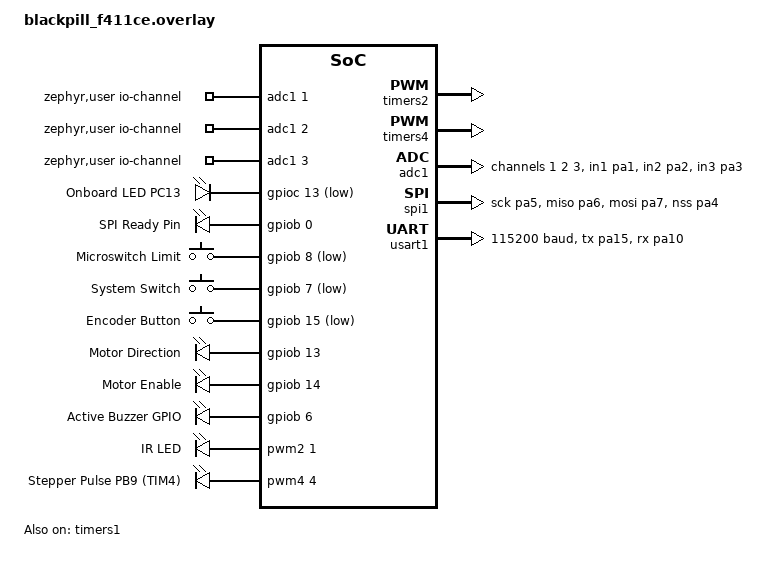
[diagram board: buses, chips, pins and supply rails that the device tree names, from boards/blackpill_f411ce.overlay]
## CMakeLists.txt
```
cmake_minimum_required(VERSION 3.20.0)

# ---------------------------------------------------------------------
# Selecao de target
#
#   west build -b blackpill_f411ce .      -> perfil completo (artigo)
#   west build -b nucleo_u575zi_q .       -> perfil minimo (SPI + PWM)
#
# O overlay e o fragmento de Kconfig sao escolhidos EXPLICITAMENTE pelo
# nome da board. Isso evita depender da ordem de descoberta automatica
# de app.overlay / boards/<board>.overlay, que ja mudou entre versoes do
# Zephyr.
# ---------------------------------------------------------------------

# O Zephyr descobre sozinho boards/<board>.overlay e boards/<board>.conf
# (cmake/modules/configuration_files.cmake, linhas 47 e 77) -- mas SO se
# DTC_OVERLAY_FILE nao estiver definida. Definir a mao desativava esse
# mecanismo e, no sysbuild, ainda lia ${BOARD} vazio, gerando
# "boards/.overlay". Por isso nao setamos nada aqui.

# O Zephyr le o arquivo 'VERSION' automaticamente AQUI
find_package(Zephyr REQUIRED HINTS $ENV{ZEPHYR_BASE})

project(infusion_pump)

# Validacao depois do find_package: aqui BOARD esta garantidamente
# definido, inclusive sob sysbuild.
set(ARGUS_BOARD_OVERLAY "${CMAKE_CURRENT_SOURCE_DIR}/boards/${BOARD}.overlay")
if(NOT EXISTS ${ARGUS_BOARD_OVERLAY})
    message(FATAL_ERROR
        "Board '${BOARD}' nao suportada por este projeto.\n"
        "Falta: ${ARGUS_BOARD_OVERLAY}\n"
        "Targets disponiveis: blackpill_f411ce, nucleo_u575zi_q")
endif()

message(STATUS "Argus target        : ${BOARD}")
message(STATUS "Argus DT overlay    : ${ARGUS_BOARD_OVERLAY}")

target_include_directories(app PRIVATE
    include
    utl
)

# Todos os fontes compilam nos dois targets. Os drivers de hardware
# opcional (encoder, ADC) viram stubs sozinhos quando os nos
# correspondentes nao existem no Device Tree -- ver src/encoder.c e
# src/adc_driver.c.
target_sources(app PRIVATE
    src/main.c
    src/cmd.c
    src/hub.c
    src/adc_driver.c
    src/encoder.c
    src/motor_driver.c
    src/logic_engine.c
    src/ota_handler.c
    utl/utl_io.c
    utl/utl_crc16.c
)

set(APP_VERSION_STRING "${APP_VERSION_MAJOR}.${APP_VERSION_MINOR}.${APP_PATCHLEVEL}")
message(STATUS "Argus firmware ver  : ${APP_VERSION_STRING}")

# Injeta a versao na assinatura do MCUboot
set(CONFIG_MCUBOOT_IMGTOOL_SIGN_VERSION "${APP_VERSION_STRING}" CACHE STRING "" FORCE)

# Artefato nomeado por board: argus_<board>_v<versao>.bin
set(OUTPUT_BIN_NAME "argus_${BOARD}_v${APP_VERSION_STRING}.bin")

# Sem MCUboot nao existe zephyr.signed.bin; usa o binario cru.
if(CONFIG_BOOTLOADER_MCUBOOT)
    set(ARGUS_SRC_BIN "${CMAKE_BINARY_DIR}/zephyr/zephyr.signed.bin")
else()
    set(ARGUS_SRC_BIN "${CMAKE_BINARY_DIR}/zephyr/zephyr.bin")
endif()

add_custom_target(artifact_gen ALL
    COMMAND ${CMAKE_COMMAND} -E copy
    ${ARGUS_SRC_BIN}
    ${CMAKE_SOURCE_DIR}/${OUTPUT_BIN_NAME}

    COMMENT ">>> [SUCESSO] ${OUTPUT_BIN_NAME}"
)

add_dependencies(artifact_gen zephyr_final)
```

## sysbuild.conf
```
# ---------------------------------------------------------------------------
# sysbuild: construir o MCUboot junto com a aplicacao
# ---------------------------------------------------------------------------
# CONFIG_BOOTLOADER_MCUBOOT (no prj/board conf) diz apenas "esta aplicacao
# sera carregada por um bootloader": faz a app ser linkada no slot0 e
# assinada. Nao constroi bootloader nenhum.
#
# Quem manda o sysbuild COMPILAR o MCUboot e este SB_CONFIG. Sem ele, o
# build termina sem bootloader e a placa nao da boot: o vetor de reset
# aponta para o inicio da flash, onde nao ha nada.
#
#   west build -p always -b nucleo_u575zi_q --sysbuild .
SB_CONFIG_BOOTLOADER_MCUBOOT=y
```

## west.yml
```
# Manifesto do workspace Zephyr usado para gerar as imagens deste
# firmware. Versionado de proposito: sem ele, reconstruir o ambiente
# vira adivinhacao.
#
# Ambiente validado em 2026-09-07:
#   Zephyr    v4.4.0-14505-gbc2caf20dd0
#   SDK       zephyr-sdk 1.0.1 (toolchain arm-zephyr-eabi)
#   libc      picolibc (o SDK nao traz mais newlib para arm-zephyr-eabi)
#
# Uso como workspace proprio:
#   west init -l .            # a partir da raiz deste repositorio
#   west update
manifest:
  remotes:
    - name: zephyrproject-rtos
      url-base: https://github.com/zephyrproject-rtos

  projects:
    - name: zephyr
      remote: zephyrproject-rtos
      revision: bc2caf20dd0c7ca6c95c0dae66fd1ccb0e7e6147
      import:
        name-allowlist:
          - cmsis
          - cmsis_6
          - hal_stm32
          - mcuboot
          - picolibc
          - segger
          - zcbor

  self:
    path: argus-mpcs
```

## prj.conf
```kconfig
# =====================================================================
# Argus MPCS - configuracao COMUM a todos os targets
#
# O que e especifico de placa (ADC, encoder, DMA, MCUboot, chave de
# assinatura) mora em boards/<board>.conf, aplicado por cima deste.
# =====================================================================

# Perifericos basicos
CONFIG_GPIO=y
CONFIG_SERIAL=y
CONFIG_CONSOLE=y

# SPI (escravo) - o backend DMA e decidido por placa
CONFIG_SPI=y
CONFIG_SPI_PERIPHERAL=y
CONFIG_SPI_STM32=y

# PWM do motor de passo
CONFIG_PWM=y
CONFIG_PWM_STM32=y

# Lib C
#
# Picolibc. O firmware original pedia newlib, mas NEWLIB_LIBC depende de
# NEWLIB_LIBC_SUPPORTED e o Zephyr SDK 1.0.1 nao traz mais newlib para
# arm-zephyr-eabi: o pedido era silenciosamente ignorado e o picolibc
# vencia a escolha de qualquer jeito. Agora esta explicito.
#
# Seguro aqui: o codigo nao usa %f/%g em nenhum log (picolibc nao traz
# printf de ponto flutuante por padrao) nem funcao alguma de math.h.
CONFIG_PICOLIBC=y

# Logs (otimizado para performance: modo deferido)
CONFIG_LOG=y
CONFIG_LOG_MODE_IMMEDIATE=n
CONFIG_LOG_MODE_DEFERRED=y
CONFIG_LOG_BUFFER_SIZE=4096
CONFIG_LOG_DEFAULT_LEVEL=3

# Stacks
CONFIG_MAIN_STACK_SIZE=4096
CONFIG_ISR_STACK_SIZE=4096

# Instrumentacao de tempo (metricas para os revisores)
# k_cycle_get_32() usa o contador de ciclos do proprio nucleo no
# Cortex-M: resolucao sub-microssegundo, custo de uma leitura de
# registrador. Nao ha amostragem nem buffer no caminho critico.
CONFIG_TIMING_FUNCTIONS=y

# Utils
CONFIG_CRC=y
CONFIG_POLL=y
CONFIG_REBOOT=y

# Workqueue cooperativa: o reboot pos-OTA e agendado nela e nao pode
# ser preemptado pela thread do hub.
CONFIG_SYSTEM_WORKQUEUE_PRIORITY=-1
```

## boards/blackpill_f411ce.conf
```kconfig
# =====================================================================
# Blackpill F411CE - perfil COMPLETO (hardware original do artigo)
#
# Reproduz exatamente a configuracao da branch state_machine: ADC,
# encoder por quadratura, DMA no SPI e OTA via MCUboot.
# =====================================================================

# Entrada (botoes / microswitch)
CONFIG_INPUT=y

# ADC (bolha, oclusao, potenciometro)
CONFIG_ADC=y
CONFIG_ADC_STM32=y

# Encoder por quadratura (TIM1 via API de sensor)
CONFIG_SENSOR=y

# DMA no SPI escravo
CONFIG_DMA=y
CONFIG_SPI_STM32_DMA=y

# Bootloader e DFU (OTA a partir do gateway)
CONFIG_BOOTLOADER_MCUBOOT=y
CONFIG_IMG_MANAGER=y
CONFIG_FLASH=y
CONFIG_FLASH_MAP=y
CONFIG_STREAM_FLASH=y
CONFIG_IMG_ERASE_PROGRESSIVELY=y
CONFIG_NET_BUF=y
CONFIG_ZCBOR=y

# Assinatura da imagem
CONFIG_MCUBOOT_SIGNATURE_KEY_FILE="bootloader/mcuboot/root-rsa-2048.pem"
```

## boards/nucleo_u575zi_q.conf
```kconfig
# =====================================================================
# Nucleo-U575ZI-Q - perfil MINIMO (comunicacao + debug)
#
# Objetivo deste target: validar SPI escravo + DATA READY contra a
# RPi Zero 2W, com log legivel pela VCP do ST-Link. PWM do motor
# incluido, mas opcional (ver overlay).
# =====================================================================

# --- Perifericos NAO usados neste perfil ---
# Explicitos para documentar a intencao, nao por necessidade.
CONFIG_ADC=n
CONFIG_SENSOR=n
CONFIG_INPUT=n

# --- SPI escravo em modo interrupcao ---
# O GPDMA do U5 tem binding/celulas diferentes do DMA2 do F4. A 500 kHz
# com quadros de 64 bytes o modo interrupcao atende com folga.
# Para experimentar DMA depois: ligar as duas linhas abaixo E acrescentar
# a propriedade "dmas" no no &spi1 do overlay (formato GPDMA, nao DMA2).
CONFIG_DMA=n
CONFIG_SPI_STM32_DMA=n
CONFIG_SPI_STM32_INTERRUPT=y

# API assincrona do SPI: necessaria para armar o periferico ANTES de subir
# o READY. Sem ela o hub cai no caminho bloqueante, que tem a corrida
# medida no analisador logico (ANALISADOR_LOGICO.md, 3.5).
CONFIG_SPI_ASYNC=n
#            ^^^ OBRIGATORIO. Sem DMA E sem interrupcao, o driver
# spi_stm32 opera em POLLING: spi_transceive() vira busy-wait esperando
# o clock do mestre. Em modo peripheral isso trava o sistema inteiro --
# a thread do hub (prio 1) nunca cede a CPU e nada de prioridade menor
# roda (logic engine, processamento de log, system workqueue).

# --- OTA via MCUboot ---
# Habilitado para exercitar o caminho de atualizacao do firmware pelo
# gateway (stm32-updater, que fala o protocolo OTA por SPI).
#
# O bootloader e construido junto pelo sysbuild:
#     west build -p always -b nucleo_u575zi_q --sysbuild .
#
# Layout de flash vem da propria board DTS: mcuboot 64K, slot0 928K
# @0x10000, slot1 928K @0xf8000. O overlay aponta zephyr,code-partition
# para o slot0, senao a aplicacao seria linkada no inicio da flash e o
# MCUboot nao a encontraria.
CONFIG_BOOTLOADER_MCUBOOT=y
CONFIG_IMG_MANAGER=y
CONFIG_FLASH=y
CONFIG_FLASH_MAP=y
CONFIG_STREAM_FLASH=y
CONFIG_IMG_ERASE_PROGRESSIVELY=y
CONFIG_NET_BUF=y
CONFIG_ZCBOR=y

# =====================================================================
# UART DE DEBUG
#
# Sai pela VCP do ST-Link (a DTS da board ja escolhe o UART certo).
# Sem fiacao extra: plugue o USB da Nucleo e abra
#
#     picocom -b 115200 /dev/ttyACM0
# =====================================================================
CONFIG_UART_CONSOLE=y
CONFIG_PRINTK=y

# Modo deferido: o log NAO bloqueia a thread do hub enquanto imprime.
# Isso importa aqui -- em modo imediato a UART injetaria latencia no
# laco do SPI e contaminaria qualquer medida de tempo.
CONFIG_LOG_MODE_DEFERRED=y

# Timestamp nas linhas de log, para casar o console com as capturas do
# analisador logico.
CONFIG_LOG_TIMESTAMP_64BIT=y

# Nome das threads nos backtraces e nos erros de kernel.
CONFIG_THREAD_NAME=y

# Falhas de kernel imprimem stack trace legivel em vez de travar mudo.
CONFIG_ASSERT=y
# CONFIG_EXCEPTION_STACK_TRACE nao entra aqui: depende de ARCH_STACKWALK,
# que e 'n' neste arch. Pedir mesmo assim so gera warning e nao ativa nada.

# --- Verbosidade ---
# Padrao INF (herdado do prj.conf). Para bring-up do SPI, subir para DBG
# descomentando a linha abaixo. Cuidado: gera bastante trafego na UART.
# CONFIG_LOG_DEFAULT_LEVEL=4

# --- Shell interativo (opcional) ---
# Util para inspecionar estado sem recompilar. Custa uma thread e ~10 KB.
# CONFIG_SHELL=y
# CONFIG_SHELL_BACKEND_SERIAL=y
```

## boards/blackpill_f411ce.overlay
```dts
/ {
    zephyr,user {
        io-channels = <&adc1 1>, <&adc1 2>, <&adc1 3>;
    };

    chosen {
        zephyr,code-partition = &slot0_partition;
        zephyr,console = &usart1;
        zephyr,shell-uart = &usart1;
    };
    
    aliases {
        led0 = &onboard_led;
        
        /* Sensores */
        qdec0 = &qdec;         
        sw-spdt = &button_spdt;
        sw-mech = &button_mech;
        sw-encoder = &button_encoder;
        
        /* ADC - Agora os labels &adc_photo existem! */
        adc-photo = &adc_photo;
        adc-pot = &adc_pot;
        adc-load = &adc_load;

        /* Atuadores */
        motor-pwm = &motor_pwm;
        motor-dir = &motor_dir;
        motor-en = &motor_en;
        led-ir = &pwm_ir;
        buzzer = &buzzer_gpio; 
        
        /* Comms */
        spi-ready = &ready_pin;
    };

    leds {
        compatible = "gpio-leds";
        onboard_led: led_pc13 {
            gpios = <&gpioc 13 GPIO_ACTIVE_LOW>;
            label = "Onboard LED PC13";
        };
        ready_pin: ready_pin_pb0 {
            gpios = <&gpiob 0 GPIO_ACTIVE_HIGH>;
            label = "SPI Ready Pin";
        };
    };

    buttons {
        compatible = "gpio-keys";
        button_mech: microswitch {
            gpios = <&gpiob 8 (GPIO_ACTIVE_LOW | GPIO_PULL_UP)>;
            label = "Microswitch Limit";
            zephyr,code = <11>; 
        };
        button_spdt: spdt_switch {
            gpios = <&gpiob 7 (GPIO_ACTIVE_LOW | GPIO_PULL_UP)>;
            label = "System Switch";
            zephyr,code = <12>;
        };
        button_encoder: encoder_sw {
            gpios = <&gpiob 15 (GPIO_ACTIVE_LOW | GPIO_PULL_UP)>;
            label = "Encoder Button";
            zephyr,code = <13>;
        };
    };

    gpio_outputs {
        compatible = "gpio-leds"; 
        motor_dir: motor_dir {
            gpios = <&gpiob 13 GPIO_ACTIVE_HIGH>;
            label = "Motor Direction";
        };
        motor_en: motor_ena {
            gpios = <&gpiob 14 GPIO_ACTIVE_HIGH>;
            label = "Motor Enable";
        };
        buzzer_gpio: buzzer_gpio {
            gpios = <&gpiob 6 GPIO_ACTIVE_HIGH>;
            label = "Active Buzzer GPIO";
        };
    };

    pwmleds {
        compatible = "pwm-leds";
        
        pwm_ir: pwm_led_ir {
            pwms = <&pwm2 1 PWM_MSEC(20) PWM_POLARITY_NORMAL>;
            label = "IR LED";
        };

        motor_pwm: motor_pulse {
            pwms = <&pwm4 4 PWM_USEC(1000) PWM_POLARITY_NORMAL>;
            label = "Stepper Pulse PB9 (TIM4)";
        };
    };
};

/* --- Configuração do Timer 1 (Hardware Encoder) --- */
&timers1 {
    status = "okay";
    
    qdec: qdec {
        compatible = "st,stm32-qdec";
        status = "okay";
        pinctrl-0 = <&tim1_ch1_pa8 &tim1_ch2_pa9>;
        pinctrl-names = "default";
        
        st,encoder-mode = <3>; 
        st,input-filter-level = <12>; 
        st,counts-per-revolution = <80>;
    };
};

/* --- Configuração dos Timers PWM --- */
&timers2 {
    status = "okay";
    pwm2: pwm {
        status = "okay";
        pinctrl-0 = <&tim2_ch1_pwm_pa0>;
        pinctrl-names = "default";
    };
};

&timers4 {
    status = "okay";
    st,prescaler = <95>; /* Clock máximo para precisão */

    pwm4: pwm {
        status = "okay";
        pinctrl-0 = <&tim4_ch4_pwm_pb9>; /* Aponta para a nova config AF2 */
        pinctrl-names = "default";
    };
};

/* --- Configuração ADC (CORRIGIDA) --- */
&adc1 {
    status = "okay";
    pinctrl-0 = <&adc1_in1_pa1 &adc1_in2_pa2 &adc1_in3_pa3>;
    pinctrl-names = "default";
    st,adc-clock-source = "SYNC";   /* binding virou string no Zephyr 4.x (era <SYNC>) */
    st,adc-prescaler = <4>;
    #address-cells = <1>;
    #size-cells = <0>;

    /* ADICIONADO: Labels para os canais */
    adc_photo: channel@1 {
        reg = <1>;
        zephyr,gain = "ADC_GAIN_1";
        zephyr,reference = "ADC_REF_INTERNAL";
        zephyr,acquisition-time = <ADC_ACQ_TIME_DEFAULT>;
        zephyr,resolution = <12>;
    };
    adc_pot: channel@2 {
        reg = <2>;
        zephyr,gain = "ADC_GAIN_1";
        zephyr,reference = "ADC_REF_INTERNAL";
        zephyr,acquisition-time = <ADC_ACQ_TIME_DEFAULT>;
        zephyr,resolution = <12>;
    };
    adc_load: channel@3 {
        reg = <3>;
        zephyr,gain = "ADC_GAIN_1";
        zephyr,reference = "ADC_REF_INTERNAL";
        zephyr,acquisition-time = <ADC_ACQ_TIME_DEFAULT>;
        zephyr,resolution = <12>;
    };
};

/* --- Pin Control (Muxing) --- */
&pinctrl {
    /* SPI1 */
    spi1_sck_pa5: spi1_sck_pa5 {
        pinmux = <STM32_PINMUX('A', 5, AF5)>;
        bias-pull-up; 
    };
    spi1_miso_pa6: spi1_miso_pa6 {
        pinmux = <STM32_PINMUX('A', 6, AF5)>;
        bias-pull-down;
    };
    spi1_mosi_pa7: spi1_mosi_pa7 {
        pinmux = <STM32_PINMUX('A', 7, AF5)>;
        bias-pull-up;
    };
    spi1_nss_pa4: spi1_nss_pa4 {
         pinmux = <STM32_PINMUX('A', 4, AF5)>;
         bias-pull-up;
    };

    /* ADC */
    adc1_in1_pa1: adc1_in1_pa1 { pinmux = <STM32_PINMUX('A', 1, ANALOG)>; };
    adc1_in2_pa2: adc1_in2_pa2 { pinmux = <STM32_PINMUX('A', 2, ANALOG)>; };
    adc1_in3_pa3: adc1_in3_pa3 { pinmux = <STM32_PINMUX('A', 3, ANALOG)>; };

    /* PWM Timers */
    tim2_ch1_pwm_pa0: tim2_ch1_pwm_pa0 {
        pinmux = <STM32_PINMUX('A', 0, AF1)>;
    };
    tim4_ch4_pwm_pb9: tim4_ch4_pwm_pb9 {
        pinmux = <STM32_PINMUX('B', 9, AF2)>; /* AF2 = TIM4_CH4 */
        bias-pull-down; /* Garante 0V quando desligado */
        drive-push-pull;
        slew-rate = "very-high-speed"; /* Bom para PWM rápido */
    };
    
    /* Hardware Encoder Timer 1 (PA8 e PA9) */
    tim1_ch1_pa8: tim1_ch1_pa8 {
        pinmux = <STM32_PINMUX('A', 8, AF1)>;
        bias-pull-up;
    };
    tim1_ch2_pa9: tim1_ch2_pa9 {
        pinmux = <STM32_PINMUX('A', 9, AF1)>;
        bias-pull-up;
    };

    usart1_tx_pa15: usart1_tx_pa15 {
        pinmux = <STM32_PINMUX('A', 15, AF7)>;
        bias-pull-up;
    };

    /* Configura PA10 como USART1_RX (AF7) */
    usart1_rx_pa10: usart1_rx_pa10 {
        pinmux = <STM32_PINMUX('A', 10, AF7)>;
        bias-pull-up;
    };
};

/* --- Configurações Flash e Periféricos --- */
&flash0 {
    /delete-node/ partitions;
};

&flash0 {
    partitions {
        compatible = "fixed-partitions";
        #address-cells = <1>;
        #size-cells = <1>;
        boot_partition: partition@0 {
            label = "mcuboot";
            reg = <0x00000000 0x00020000>; 
        };
        slot0_partition: partition@20000 {
            label = "image-0";
            reg = <0x00020000 0x00020000>; 
        };
        slot1_partition: partition@40000 {
            label = "image-1";
            reg = <0x00040000 0x00020000>; 
        };
        scratch_partition: partition@60000 {
            label = "image-scratch";
            reg = <0x00060000 0x00020000>; 
        };
    };
};

&dma2 { status = "okay"; };

&spi1 {
    status = "okay";
    pinctrl-0 = <&spi1_sck_pa5 &spi1_miso_pa6 &spi1_mosi_pa7 &spi1_nss_pa4>;
    pinctrl-names = "default";
    dmas = <&dma2 3 3 0x28440 0x03>, <&dma2 0 3 0x28480 0x03>;
    dma-names = "tx", "rx";
};

/* Configuração do Periférico USART1 */
&usart1 {
    status = "okay";
    pinctrl-0 = <&usart1_tx_pa15 &usart1_rx_pa10>;
    pinctrl-names = "default";
    current-speed = <115200>;
};

/* Desativa periféricos não usados */
&i2c1 { status = "disabled"; };
&i2c2 { status = "disabled"; };
&i2c3 { status = "disabled"; };
&usart2 { status = "disabled"; };
&usart6 { status = "disabled"; };
&timers11 { status = "disabled"; };
```

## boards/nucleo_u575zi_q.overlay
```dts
/*
 * Argus MPCS - Nucleo-U575ZI-Q (STM32U575ZIT6Q, Cortex-M33)
 *
 * Perfil MINIMO. So o necessario para o gateway (RPi Zero 2W) falar com
 * o MCU, mais o atuador e a UART de debug:
 *
 *   [obrigatorio] SPI1 escravo + pino DATA READY
 *   [opcional]    PWM do motor de passo + DIR/EN
 *   [debug]       console/log pela VCP do ST-Link
 *
 * Encoder (qdec), ADC, botoes e buzzer NAO sao instanciados. Os drivers
 * correspondentes viram stubs sozinhos quando os nos faltam no DT --
 * vale tambem para o motor (ver src/motor_driver.c).
 *
 * ---------------------------------------------------------------------
 * MAPA DE PINOS -- CONFIRME contra o pinout da placa antes de ligar
 * ---------------------------------------------------------------------
 *   SPI1 (escravo)   NSS  PA4   CN7-9  ou CN7-17   (Zio D20/D24)
 *                    SCK  PA5   CN7-10             (Arduino D13)
 *                    MISO PA6   CN7-12             (Arduino D12)
 *                    MOSI PA7   CN7-14             (Arduino D11)
 *   DATA READY (out) PB3   CN7-15             (Zio D23)
 *                          -> GPIO 5 do RPi (entrada)
 *
 *   PB3 fica no MESMO conector dos quatro sinais de SPI (CN7), o que
 *   encurta a fiacao. Em troca, PB3 e a funcao debug_jtdo_swo: com SWD
 *   puro fica livre para GPIO, mas se o trace SWO for habilitado no
 *   ST-Link o pino deixa de responder. Alternativa sem esse risco e
 *   PA2 (CN9-3 / CN10-13, Arduino A1), do outro lado da placa.
 *
 *   CUIDADO: o Arduino D10 desta placa NAO e PA4, e PD14 -- que e
 *   justamente o cs-gpios de mestre que este overlay apaga. Ligar o CS
 *   da Raspberry em D10 nao funciona.
 *   MOTOR PWM        PA0   TIM2_CH1   [opcional]
 *   MOTOR DIR (out)  PB13             [opcional]
 *   MOTOR EN  (out)  PB14             [opcional]
 *
 * ---------------------------------------------------------------------
 * NOTA sobre o RDY em hardware
 * ---------------------------------------------------------------------
 * PA2 (nao usado agora) e o pino de funcao alternada SPI1_RDY do U5: o IP de SPI da
 * geracao nova sabe dirigir esse sinal sozinho (SPI_CFG2.RDIOM/RDIOP),
 * sem passar por software. Isso e melhor que o que fazemos hoje -- ver
 * a discussao no README -- mas o driver spi_stm32 do Zephyr nao expoe
 * essa configuracao, e ele reprograma CFG2 no caminho de transceive.
 *
 * Por isso o DATA READY e um GPIO comum dirigido por software em hub.c,
 * igual a Blackpill. Assim o comportamento e o mesmo
 * nas duas placas e os resultados continuam comparaveis.
 *
 * ---------------------------------------------------------------------
 * UART DE DEBUG
 * ---------------------------------------------------------------------
 * O console e os logs saem pela VCP do ST-Link, que a DTS da propria
 * board ja escolhe (zephyr,console / zephyr,shell-uart). Nao ha nada a
 * declarar aqui e nao gasta pino de header: basta plugar o USB da
 * Nucleo e abrir /dev/ttyACM0 a 115200.
 *
 *     west build -b nucleo_u575zi_q . && west flash
 *     picocom -b 115200 /dev/ttyACM0        # ou screen, minicom...
 *
 * Se quiser o log num adaptador USB-serial separado (por exemplo para
 * capturar com o analisador logico ao mesmo tempo), descomente o bloco
 * "console alternativo" no fim deste arquivo e confira antes se os
 * pinos escolhidos estao livres na sua placa.
 */

/ {
    chosen {
        /*
         * Com MCUboot, a aplicacao TEM de ser linkada no slot0 -- senao
         * fica no inicio da flash, onde mora o bootloader.
         * O layout (mcuboot 64K, slot0 928K @0x10000, slot1 928K
         * @0xf8000) vem da propria board DTS.
         */
        zephyr,code-partition = &slot0_partition;
    };

    aliases {
        /* Comms -- obrigatorio */
        spi-ready = &ready_pin;

        /* Atuadores -- opcional (some junto com o bloco do motor) */
        motor-pwm = &motor_pwm;
        motor-dir = &motor_dir;
        motor-en  = &motor_en;

        /* Marcadores para o analisador logico -- ver include/markers.h */
        la-marker-a = &marker_a;
        la-marker-b = &marker_b;
    };

    gpio_outputs {
        compatible = "gpio-leds";

        /* DATA READY: GPIO comum dirigido por software em hub.c. */
        ready_pin: ready_pin_pb3 {
            gpios = <&gpiob 3 GPIO_ACTIVE_HIGH>;
            label = "SPI Data Ready";
        };

        /* --- inicio do bloco opcional do motor --- */
        motor_dir: motor_dir {
            gpios = <&gpiob 13 GPIO_ACTIVE_HIGH>;
            label = "Motor Direction";
        };
        motor_en: motor_ena {
            gpios = <&gpiob 14 GPIO_ACTIVE_HIGH>;
            label = "Motor Enable";
        };
    };

    /*
     * --- Marcadores para o analisador logico --- [opcional]
     *
     * Pinos livres na placa: nem os LEDs (PC7, PB7, PG2), nem o botao
     * (PC13), nem o I2C (PB8/PB9, PF0/PF1) os reivindicam.
     *
     *   A = PA8 -> Zio D33 (CN10-31)
     *   B = PE0 -> Zio D34 (CN10-33)
     *
     * Removendo este bloco e os dois aliases, o firmware volta a compilar
     * sem marcador nenhum, sem mais nenhuma edicao.
     */
    la_markers {
        compatible = "gpio-leds";

        marker_a: marker_a_pa8 {
            gpios = <&gpioa 8 GPIO_ACTIVE_HIGH>;
            label = "LA Marker A (quadro decodificado)";
        };
        marker_b: marker_b_pe0 {
            gpios = <&gpioe 0 GPIO_ACTIVE_HIGH>;
            label = "LA Marker B (atuacao no motor)";
        };
    };

    pwmleds {
        compatible = "pwm-leds";

        motor_pwm: motor_pulse {
            pwms = <&pwm2 1 PWM_USEC(1000) PWM_POLARITY_NORMAL>;
            label = "Stepper Pulse PA0 (TIM2_CH1)";
        };
    };
    /* --- fim do bloco opcional do motor --- */
};

/*
 * --- PWM do motor de passo: TIM2 canal 1 --- [opcional]
 *
 * O prescaler assume 160 MHz de clock no TIM2. Se rodar o U575 em outra
 * frequencia, recalcule: valor = (f_timer / 1 MHz) - 1.
 *
 * Para um build so de comunicacao, remova este bloco, o bloco do motor
 * acima e os tres aliases motor-*. motor_driver.c passa a compilar como
 * stub sozinho, sem mais nenhuma edicao.
 */
&timers2 {
    status = "okay";
    st,prescaler = <159>;   /* 160 MHz / (159+1) = 1 MHz -> 1 us de resolucao */

    pwm2: pwm {
        status = "okay";
        pinctrl-0 = <&tim2_ch1_pa0>;
        pinctrl-names = "default";
    };
};

/*
 * --- SPI1 em modo ESCRAVO --- [obrigatorio]
 *
 * COM DMA (GPDMA1). A versao anterior deste comentario afirmava que
 * 500 kHz com quadros de 64 bytes eram "atendidos com folga em modo
 * interrupcao". A medicao desmentiu: em modo interrupcao o escravo nao
 * repoe a FIFO a tempo e transmite zeros depois dos 8 primeiros bytes.
 *
 * Medido em 12/09/2026, quadros recusados pelo gateway por CRC:
 *     100 kHz -> 0,00%   500 kHz -> ~0,8%   2 MHz -> 94%
 * e 477 erros de driver com 477 resets do periferico em 15.913 quadros.
 *
 * DMA NAO E POSSIVEL AQUI, e a razao nao e configuracao. O driver do
 * Zephyr recusa explicitamente:
 *
 *     <err> spi_stm32: SPI DMA is only supported for full-duplex
 *                      controller mode
 *     <err> hub: Erro SPI Driver: -134   (-ENOTSUP)
 *
 * Testado em 12/09/2026 com o mapeamento correto (gpdma1 habilitado pela
 * propria DTS da placa, SPI1_TX = 7 e SPI1_RX = 6 conforme o HAL): toda
 * transferencia retornou -ENOTSUP, o hub resetou o periferico e o
 * firmware reiniciou sozinho apos 10 erros seguidos.
 *
 * Consequencia: em modo ESCRAVO a alimentacao da FIFO e sempre por CPU, e
 * a taxa util fica limitada pelo atendimento da interrupcao. Medido:
 *     100 kHz -> 0,00% de quadros recusados
 *     500 kHz -> 0,5% a 1,3% (cadencia de consulta continua)
 *     500 kHz -> 0,00% na cadencia das campanhas (modo mix)
 *     2 MHz   -> 94%
 */
&spi1 {
    status = "okay";

    /*
     * A board DTS declara este SPI como MESTRE, com CS por GPIO em PD14
     * e sem NSS no pinctrl. Em modo escravo isso esta errado nos dois
     * pontos, entao aqui: apagamos cs-gpios e reescrevemos o pinctrl
     * incluindo NSS por hardware em PA4.
     */
    /delete-property/ cs-gpios;

    pinctrl-0 = <&spi1_nss_pa4 &spi1_sck_pa5 &spi1_miso_pa6 &spi1_mosi_pa7>;


    pinctrl-names = "default";
};

/*
 * --- CONFLITO DE PINO: DAC1 x SPI1_NSS ---
 *
 * A board DTS habilita o DAC1 com pinctrl-0 = <&dac1_out1_pa4>, ou seja
 * reivindica PA4 como saida ANALOGICA. Nosso SPI1 quer o mesmo PA4 como
 * AF5 (SPI1_NSS). Dois drivers configurando o mesmo pino: quem
 * inicializar por ultimo vence, e se for o DAC o PA4 fica analogico e o
 * NSS por hardware nunca responde.
 *
 * Nao usamos DAC neste perfil, entao o caminho limpo e desliga-lo.
 */
&dac1 {
    status = "disabled";
};

/*
 * Particoes de flash: NAO redefinidas aqui.
 * (O chosen zephyr,code-partition acima usa o slot0 desse layout.)
 *
 * A propria board DTS ja traz um layout melhor que o que eu havia
 * escrito (boot 64K, slot0 928K @0x10000, slot1 928K @0xf8000,
 * storage 128K) e ja aponta zephyr,code-partition para slot0.
 * Sem MCUboot esse chosen e ignorado (depende de
 * CONFIG_USE_DT_CODE_PARTITION), entao a aplicacao linka no inicio da
 * flash e da boot direto. Ao ligar MCUboot, o layout ja esta pronto.
 */

/*
 * ---------------------------------------------------------------------
 * Console
 * ---------------------------------------------------------------------
 * Nada a declarar. A board DTS ja faz:
 *
 *     chosen { zephyr,console = &usart1; zephyr,shell-uart = &usart1; };
 *     &usart1 { pinctrl-0 = <&usart1_tx_pa9 &usart1_rx_pa10>; ... };
 *
 * e USART1 (PA9/PA10) e a Virtual COM Port do ST-Link, 115200 8N1,
 * conforme a documentacao da placa. Basta o cabo USB.
 */
```

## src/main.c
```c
#include <zephyr/kernel.h>
#if defined(CONFIG_BOOTLOADER_MCUBOOT)
#include <zephyr/dfu/mcuboot.h>
#endif
#include <zephyr/drivers/gpio.h>
#include <zephyr/logging/log.h>
#include <zephyr/app_version.h>
#include "hub.h"
#include "protocol_defs.h"
#include "sensor_data.h"
#include "logic_engine.h"
#include "markers.h"

LOG_MODULE_REGISTER(main, LOG_LEVEL_INF);

static const struct gpio_dt_spec led = GPIO_DT_SPEC_GET(DT_ALIAS(led0), gpios);

int main(void)
{
    if (device_is_ready(led.port))
    {
        gpio_pin_configure_dt(&led, GPIO_OUTPUT_ACTIVE);
    }

    LOG_INF("--- ARGUS MPCS BOOT (%s v%u.%u.%u) ---",
            CONFIG_BOARD,
            APP_VERSION_MAJOR,
            APP_VERSION_MINOR,
            APP_PATCHLEVEL);

#if defined(CONFIG_BOOTLOADER_MCUBOOT)
    /* Confirma a imagem para o MCUboot nao fazer rollback no proximo boot */
    boot_write_img_confirmed();
#endif

    argus_markers_init();

    if (hub_init() != 0)
    {
        LOG_ERR("Falha fatal no Hub SPI!");
        return -1;
    }

    LOG_INF("Sistema inicializado. Threads ativas.");

    /* Nada mais a fazer.
       O sistema roda via threads. */
    while (1)
    {
        k_sleep(K_FOREVER);
    }
}
```

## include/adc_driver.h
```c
#ifndef ADC_DRIVER_H
#define ADC_DRIVER_H

#include <zephyr/kernel.h>
#include "sensor_data.h"

extern struct k_msgq sensor_data_q;

int adc_driver_init(void);
void adc_thread_entry(void* p1, void* p2, void* p3);

#endif
```

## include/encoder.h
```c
#ifndef ENCODER_H
#define ENCODER_H

#include <stdint.h>

/**
 * @brief Inicializa o driver do encoder KY-040
 * @return 0 em caso de sucesso, código de erro negativo caso contrário
 */
int encoder_init(void);

/**
 * @brief Lê o ângulo absoluto atual (0 a 360 graus)
 * Útil para saber a posição exata em uma volta.
 */
int32_t encoder_get_angle(void);

/**
 * @brief Calcula o deslocamento (delta) desde a última leitura.
 * * Esta função é CRUCIAL para a bomba. Ela lida com o "wrap-around"
 * (passagem de 359 para 0 graus).
 * * @return Variação em graus (ex: +10, -5).
 */
int32_t encoder_get_delta(void);

#endif /* ENCODER_H */
```

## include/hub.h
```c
#ifndef HUB_H
#define HUB_H

#include <zephyr/kernel.h>
#include <stdint.h>
#include "protocol_defs.h"
#include "cmd.h"

#define HUB_THREAD_STACK_SIZE 4096
#define HUB_THREAD_PRIORITY   1

// --- VARIÁVEIS DO PARSER (MÁQUINA DE ESTADOS) ---
typedef enum
{
    STATE_WAIT_SOF1,
    STATE_WAIT_SOF2,
    STATE_READ_HEADER,
    STATE_READ_PAYLOAD,
    STATE_READ_CRC
} parser_state_t;

typedef enum {
    LOGIC_OK = 0,
    LOGIC_ERR_INVALID_STATE,
    LOGIC_ERR_NOT_ALLOWED,
} logic_result_t;

typedef struct {
    cmd_ids_t cmd_id;
    logic_result_t result;
} logic_ack_t;


extern volatile logic_result_t logic_last_result;
extern volatile command_id_t logic_last_cmd;
extern struct k_sem logic_cmd_sem;

/* =====================================================================
 * Metricas de tempo real do dominio critico
 * =====================================================================
 * Existem para responder ao que os revisores pediram nominalmente:
 * latencia, jitter, deadline miss rate, WCET, tempo de deteccao e tempo
 * de recuperacao -- do lado do MCU, que o gateway nao consegue medir.
 *
 * Todos os campos sao acumuladores simples atualizados no caminho
 * critico. Leitura e feita por CMD_GET_METRICS.
 *
 * A LEITURA E DESTRUTIVA: apos copiar, os acumuladores sao zerados.
 * Assim cada leitura devolve o intervalo desde a leitura anterior, e a
 * campanha consegue atribuir numeros a um cenario especifico. Sem isso
 * tudo seria acumulado desde o boot, e o ultimo cenario carregaria os
 * erros de todos os anteriores.
 *
 * Unidade: microssegundos, convertidos de ciclos por
 * k_cyc_to_us_near32(). Ciclos sao lidos com k_cycle_get_32(), que no
 * Cortex-M usa o contador de ciclos do proprio nucleo -- resolucao bem
 * abaixo do microssegundo e custo de uma leitura de registrador.
 * ===================================================================== */
typedef struct
{
    /* --- Integridade do barramento --- */
    uint32_t frames_seen;      /* quadros entregues ao decodificador   */
    uint32_t crc_errors;       /* rejeitados por CRC/estrutura         */
    uint32_t driver_errors;    /* spi_transceive() devolveu erro       */
    uint32_t spi_resets;       /* execucoes do auto-healing            */

    /* --- Deteccao e recuperacao (E6 da campanha) --- */
    uint32_t recoveries;       /* rejeicoes seguidas de quadro valido  */
    uint32_t last_crc_fail_us; /* instante da ultima rejeicao          */
    uint32_t last_recovery_us; /* rejeicao -> proximo quadro valido    */
    uint32_t max_recovery_us;  /* pior caso observado                  */

    /* --- Latencia comando -> atuacao --- */
    /* Do quadro decodificado ate motor_run()/motor_stop() retornar. E o
     * caminho de SOFTWARE, onde o RTOS pode de fato sofrer sob carga.
     * Nao confundir com o jitter do pulso do motor, que sai de timer em
     * hardware e e quase imune a carga de CPU. */
    uint32_t cmd_count;
    uint32_t cmd_lat_last_us;
    uint32_t cmd_lat_max_us;   /* WCET observado deste caminho         */
    uint64_t cmd_lat_sum_us;   /* para a media, sem guardar amostras   */

    /* --- Cadencia do laco de controle --- */
    /*
     * ATENCAO a semantica. A versao anterior media o intervalo entre
     * iteracoes CONSECUTIVAS, e isso estava errado: o k_poll tem duas
     * saidas com naturezas diferentes.
     *
     *   - TIMEOUT  -> bloqueou os 100 ms pedidos. E a cadencia do laco.
     *   - EVENTO   -> retornou na hora porque havia comando na fila.
     *                 Dezenas de microssegundos.
     *
     * Misturar as duas populacoes num max-min produzia "jitter de
     * 100 ms", que nao significa nada. Em campanha so de leitura o
     * defeito ficava invisivel (nenhum evento acordava o laco); com o
     * modo mix ele apareceu na hora.
     *
     * Agora medimos o TEMPO QUE O k_poll DE FATO BLOQUEOU, e so
     * contabilizamos como cadencia as saidas por timeout. O desvio em
     * relacao a LOOP_PERIOD_US e o jitter real do temporizador do RTOS
     * sob carga -- que e o numero que interessa ao artigo.
     */
    uint32_t loop_count;         /* iteracoes que sairam por TIMEOUT    */
    uint32_t loop_period_last_us;
    uint32_t loop_period_min_us; /* menor espera observada num timeout  */
    uint32_t loop_period_max_us; /* maior espera observada num timeout  */
    uint32_t deadline_misses;    /* timeouts acima de LOOP_DEADLINE_US  */
} hub_metrics_t;

/* Periodo alvo do laco e o timeout do k_poll (100 ms). A margem de
 * tolerancia define o que conta como deadline miss. */
#define LOOP_PERIOD_US   100000U
#define LOOP_DEADLINE_US 110000U   /* 10% de folga */

/* Copia atomica-o-suficiente das metricas (leitura fora do caminho
 * critico; campos independentes, sem invariante entre eles). */
void hub_get_metrics(hub_metrics_t* out);

/* Chamado pelo logic_engine a cada iteracao do laco e a cada comando
 * processado. Declarados aqui para nao duplicar a struct. */
/* wait_us: quanto o k_poll bloqueou de fato.
 * was_timeout: true se saiu por esgotamento do prazo, false se por
 *              evento. Iteracoes por evento nao entram na cadencia. */
void hub_metrics_loop_tick(uint32_t wait_us, bool was_timeout);
void hub_metrics_cmd_latency(uint32_t start_cycles);

int hub_init(void);

void hub_set_status(const pump_status_t* status);

void hub_thread_entry(void* p1, void* p2, void* p3);

int hub_get_command(pump_cmd_t* cmd);

#endif
```

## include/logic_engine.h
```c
#ifndef LOGIC_ENGINE_H
#define LOGIC_ENGINE_H

#include <zephyr/kernel.h>
#include "protocol_defs.h"

/* * Interface Pública:
 * O Hub vai incluir isso para poder dar 'put' na fila de comandos.
 */
extern struct k_msgq cmd_queue;

void logic_thread_entry(void* p1, void* p2, void* p3);

#endif
```

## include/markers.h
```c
#ifndef MARKERS_H
#define MARKERS_H

/* =========================================================================
 * Marcadores de hardware para o analisador logico
 * =========================================================================
 * Dois pinos que o firmware sobe e desce em pontos conhecidos, para que o
 * caminho quadro -> atuacao seja medido POR FORA, sem depender da
 * instrumentacao de software do proprio firmware -- que ja se mostrou capaz
 * de produzir numeros plausiveis e errados (ver REPORT.md, Parte IV).
 *
 *   Marcador A (PA8, Zio D33, CN10-31): sobe quando um quadro e decodificado
 *       com sucesso; desce quando o hub rearma o SPI para o proximo quadro.
 *   Marcador B (PE0, Zio D34, CN10-33): fica alto enquanto
 *       update_motor_hardware() executa -- o trecho que de fato mexe no motor.
 *
 * A medida de interesse e a SUBIDA DE A ate a SUBIDA DE B. Como o protocolo
 * e sincrono (o gateway so envia o proximo quadro depois de receber a
 * resposta), existe um unico A antes de cada B, e o pareamento e direto.
 *
 * O que cada borda NAO inclui: a subida de A ocorre depois de o driver SPI
 * ter entregue o quadro, entao o tempo de barramento fica de fora. Isso e
 * proposital: o barramento ja e visivel nos proprios canais SPI do
 * analisador.
 *
 * Placas cujo Device Tree nao define os aliases la-marker-a / la-marker-b
 * (a Blackpill, por exemplo) compilam sem nenhum codigo adicional.
 * ========================================================================= */

#include <zephyr/devicetree.h>
#include <zephyr/drivers/gpio.h>

#if DT_NODE_EXISTS(DT_ALIAS(la_marker_a)) && DT_NODE_EXISTS(DT_ALIAS(la_marker_b))

#define ARGUS_MARKERS_PRESENT 1

static inline void argus_markers_init(void)
{
    static const struct gpio_dt_spec a = GPIO_DT_SPEC_GET(DT_ALIAS(la_marker_a), gpios);
    static const struct gpio_dt_spec b = GPIO_DT_SPEC_GET(DT_ALIAS(la_marker_b), gpios);

    if(device_is_ready(a.port))
        gpio_pin_configure_dt(&a, GPIO_OUTPUT_INACTIVE);
    if(device_is_ready(b.port))
        gpio_pin_configure_dt(&b, GPIO_OUTPUT_INACTIVE);
}

static inline void argus_marker_a_set(int value)
{
    static const struct gpio_dt_spec a = GPIO_DT_SPEC_GET(DT_ALIAS(la_marker_a), gpios);
    gpio_pin_set_dt(&a, value);
}

static inline void argus_marker_b_set(int value)
{
    static const struct gpio_dt_spec b = GPIO_DT_SPEC_GET(DT_ALIAS(la_marker_b), gpios);
    gpio_pin_set_dt(&b, value);
}

#else

#define ARGUS_MARKERS_PRESENT 0

static inline void argus_markers_init(void) {}
static inline void argus_marker_a_set(int value) { (void) value; }
static inline void argus_marker_b_set(int value) { (void) value; }

#endif

#endif /* MARKERS_H */
```

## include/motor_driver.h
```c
#ifndef MOTOR_DRIVER_H
#define MOTOR_DRIVER_H

#include <stdint.h>
#include <stdbool.h>

int motor_init(void);
void motor_enable(bool enable);
void motor_run(uint32_t flow_rate_ml_h, uint8_t syringe_diameter);
void motor_stop(void);

#endif
```

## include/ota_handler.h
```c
#ifndef OTA_HANDLER_H
#define OTA_HANDLER_H

#include <stdint.h>
#include <stddef.h>

void ota_start(uint32_t total_size);
int ota_write_chunk(uint8_t* data, size_t len);
void ota_finish(void);

#endif
```

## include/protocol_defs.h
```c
#ifndef PROTOCOL_DEFS_H
#define PROTOCOL_DEFS_H

#include <stdint.h>

typedef enum
{
    STATE_POWER_ON,
    STATE_IDLE,
    STATE_RUNNING,
    STATE_BOLUS,
    STATE_PURGE,
    STATE_PAUSED,
    STATE_KVO,
    STATE_END_INFUSION,
    STATE_ALARM_BUBBLE,
    STATE_ALARM_OCCLUSION,
    STATE_ALARM_DOOR,
    STATE_OFF
} pump_state_t;

typedef enum
{
    CMD_NONE = 0,
    CMD_START,
    CMD_PAUSE,
    CMD_STOP,
    CMD_SET_BOLUS,
    CMD_SET_PURGE,
    CMD_SET_RATE,
    CMD_SET_VOLUME,
    CMD_SET_DIAMETER,
    // CMD_SET_MODE,
    CMD_CLEAR_ALARM
} command_id_t;

/* =====================================================================
 * Limites terapeuticos — a autoridade final do dominio critico
 * =====================================================================
 * O MCU e a ultima linha entre um comando de rede e o atuador. Se ele
 * aceita qualquer vazao que chegue, o isolamento de dominios protege o
 * DETERMINISMO mas nao o PACIENTE: um gateway comprometido comanda dose
 * arbitraria.
 *
 * Verificado em bancada antes desta mudanca (experimento E13): pedidos
 * de 600, 1200, 5000 e 65000 mL/h foram TODOS aceitos sem saturacao.
 *
 * Os limites abaixo sao de ENGENHARIA, derivados do que a mecanica
 * suporta -- RATE_PURGE_DEFAULT ja usava 1200 mL/h como vazao maxima de
 * purga. Uma faixa CLINICA precisa vir de norma (NBR IEC 60601-2-24) e
 * do protocolo terapeutico, e deveria ser configuravel por prescricao.
 * Isto aqui e o piso de seguranca, nao a prescricao.
 * ===================================================================== */
#define RATE_MIN_ML_H        0U      /* 0 = parado, sempre valido      */
#define RATE_MAX_ML_H        1200U   /* teto mecanico do conjunto      */
#define VOLUME_MAX_ML        1000.0f /* volume alvo maximo por terapia */
#define SYRINGE_DIAM_MIN_MM  5U
#define SYRINGE_DIAM_MAX_MM  40U

typedef struct
{
    command_id_t id;
    float param;
    float param2;
} pump_cmd_t;

typedef struct
{
    pump_state_t current_state;
    float infused_volume;
    float target_volume;
    uint32_t configured_flow_rate;
    uint8_t syringe_diameter;
    // uint8_t infusion_mode;
    uint32_t pressure_mmhg;
    uint8_t alarm_code;
} pump_status_t;

#endif
```

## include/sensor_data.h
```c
#ifndef SENSOR_DATA_H
#define SENSOR_DATA_H

#include <stdint.h>
#include <zephyr/kernel.h>
#include "protocol_defs.h"

typedef struct
{
    int32_t bolha_mv;
    int32_t oclusao_mv;
    int32_t volume_pot_mv;
    int32_t timestamp;
} sensor_packet_t;

#endif
```

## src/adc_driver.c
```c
#include <zephyr/drivers/adc.h>
#include <zephyr/devicetree.h>
#include <zephyr/logging/log.h>
#include "adc_driver.h"

LOG_MODULE_REGISTER(adc_driver, LOG_LEVEL_INF);

/*
 * A fila e SEMPRE definida: o logic_engine faz k_poll sobre ela e
 * precisa que ela exista mesmo quando nao ha ADC na placa.
 */
K_MSGQ_DEFINE(sensor_data_q, sizeof(sensor_packet_t), 10, 4);

#define ZEPHYR_USER_NODE DT_PATH(zephyr_user)

/*
 * O ADC e OPCIONAL. Sem o no zephyr,user com io-channels (caso do
 * perfil minimo da Nucleo), a thread de aquisicao nao e criada e
 * nenhum pacote de sensor e publicado.
 *
 * Observacao: mesmo no perfil completo, o logic_engine hoje sobrescreve
 * bolha_mv/oclusao_mv com valores fixos ("MODO DE TESTE"), entao a
 * ausencia do ADC nao muda o comportamento observavel da bomba.
 */
#if DT_NODE_HAS_PROP(ZEPHYR_USER_NODE, io_channels)
#define ARGUS_HAS_ADC 1
#else
#define ARGUS_HAS_ADC 0
#endif

#if ARGUS_HAS_ADC

static const struct adc_dt_spec sensor_1 = ADC_DT_SPEC_GET_BY_IDX(ZEPHYR_USER_NODE, 0);
static const struct adc_dt_spec sensor_2 = ADC_DT_SPEC_GET_BY_IDX(ZEPHYR_USER_NODE, 1);
static const struct adc_dt_spec sensor_3 = ADC_DT_SPEC_GET_BY_IDX(ZEPHYR_USER_NODE, 2);

static const struct adc_dt_spec* adcs[] = {&sensor_1, &sensor_2, &sensor_3};

static int16_t buf;
static struct adc_sequence sequence = {
    .buffer = &buf,
    .buffer_size = sizeof(buf),
    .calibrate = false,
};

#define FILT_LEN 10
static int32_t filt_buffer[FILT_LEN] = {0};
static int filt_idx = 0;
static int32_t filt_accumulator = 0;

int adc_driver_init(void)
{
    for(int i = 0; i < 3; i++)
    {
        if(!adc_is_ready_dt(adcs[i]))
        {
            LOG_ERR("ADC device not ready");
            return -1;
        }
        adc_channel_setup_dt(adcs[i]);
    }
    return 0;
}

/* Função interna estática */
static int adc_driver_read_channel(uint8_t channel_idx, uint16_t* value)
{
    if(channel_idx >= 3)
        return -1;

    adc_sequence_init_dt(adcs[channel_idx], &sequence);
    int err = adc_read(adcs[channel_idx]->dev, &sequence);

    if(err < 0)
    {
        LOG_ERR("Read failed ch %d", channel_idx);
        return err;
    }

    if(buf < 0)
        buf = 0;
    *value = (uint16_t) buf;
    return 0;
}

/* Função da Thread */
void adc_thread_entry(void* p1, void* p2, void* p3)
{
    sensor_packet_t packet;
    int32_t raw_mv_buf[3];

    adc_driver_init();
    LOG_INF("ADC Driver Started");

    while(1)
    {
        for(int i = 0; i < 3; i++)
        {
            uint16_t raw;
            // [CORREÇÃO] Nome da função corrigido aqui:
            if(adc_driver_read_channel(i, &raw) == 0)
            {
                int32_t val_mv = (int32_t) raw;

                int err = adc_raw_to_millivolts_dt(adcs[i], &val_mv);
                if(err < 0)
                {
                    LOG_ERR("Conversão mV falhou canal %d", i);
                    val_mv = 0;
                }

                raw_mv_buf[i] = val_mv;
            }
        }

        packet.bolha_mv = raw_mv_buf[0];

        filt_accumulator -= filt_buffer[filt_idx];
        filt_buffer[filt_idx] = raw_mv_buf[1];
        filt_accumulator += raw_mv_buf[1];
        filt_idx = (filt_idx + 1) % FILT_LEN;
        packet.oclusao_mv = filt_accumulator / FILT_LEN;

        packet.volume_pot_mv = raw_mv_buf[2];
        packet.timestamp = k_uptime_get_32();

        k_msgq_put(&sensor_data_q, &packet, K_NO_WAIT);
        k_sleep(K_MSEC(10));
    }
}

K_THREAD_DEFINE(adc_tid, 1024, adc_thread_entry, NULL, NULL, NULL, 2, 0, 0);

#else /* !ARGUS_HAS_ADC ------------------------------------------------- */

int adc_driver_init(void)
{
    LOG_INF("ADC ausente neste target (sem io-channels) - stub ativo.");
    return 0;
}

void adc_thread_entry(void* p1, void* p2, void* p3)
{
    ARG_UNUSED(p1);
    ARG_UNUSED(p2);
    ARG_UNUSED(p3);
}

#endif /* ARGUS_HAS_ADC */
```

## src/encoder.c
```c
#include "encoder.h"
#include <zephyr/kernel.h>
#include <zephyr/device.h>
#include <zephyr/drivers/sensor.h>
#include <zephyr/logging/log.h>

LOG_MODULE_REGISTER(encoder_hal, LOG_LEVEL_INF);

/*
 * O encoder por quadratura e OPCIONAL. Se a board nao declara o alias
 * qdec0 no Device Tree (caso do perfil minimo da Nucleo), este arquivo
 * inteiro compila para stubs sem custo e o logic_engine simplesmente
 * enxerga delta = 0.
 */
#if DT_NODE_EXISTS(DT_ALIAS(qdec0))
#define ARGUS_HAS_QDEC 1
#else
#define ARGUS_HAS_QDEC 0
#endif

#if ARGUS_HAS_QDEC

/* Pega a referência do Device Tree (alias qdec0) */
static const struct device* const dev_qdec = DEVICE_DT_GET(DT_ALIAS(qdec0));

/* Variável estática para guardar a última posição lida (para cálculo de delta) */
static int32_t last_angle = 0;

int encoder_init(void)
{
    if(!device_is_ready(dev_qdec))
    {
        LOG_ERR("Hardware do Encoder (Timer 1) não está pronto!");
        return -ENODEV;
    }

    /* Faz uma leitura inicial para 'calibrar' o last_angle */
    struct sensor_value val;
    if(sensor_sample_fetch(dev_qdec) == 0)
    {
        sensor_channel_get(dev_qdec, SENSOR_CHAN_ROTATION, &val);
        last_angle = val.val1;
    }

    LOG_INF("Encoder inicializado com sucesso.");
    return 0;
}

int32_t encoder_get_angle(void)
{
    struct sensor_value val;
    int rc;

    /* 1. Fetch: Congela o valor do hardware */
    rc = sensor_sample_fetch(dev_qdec);
    if(rc != 0)
    {
        LOG_ERR("Erro fetch encoder: %d", rc);
        return -1;
    }

    /* 2. Get: Lê o valor processado (Graus) */
    rc = sensor_channel_get(dev_qdec, SENSOR_CHAN_ROTATION, &val);
    if(rc != 0)
    {
        LOG_ERR("Erro get encoder: %d", rc);
        return -1;
    }

    /* O driver STM32 retorna graus na parte inteira (val1) */
    return val.val1;
}

int32_t encoder_get_delta(void)
{
    int32_t current_angle = encoder_get_angle();

    /* Se houve erro na leitura, retorne 0 para não afetar o volume */
    if(current_angle < 0)
        return 0;

    int32_t delta = current_angle - last_angle;

    /* --- Lógica de Correção de Volta Completa (Wrap-around) --- */
    /* Se pulou de 350 para 10 (avançou), o delta matemático é -340.
       Mas o delta real é +20. */
    if(delta < -180)
    {
        delta += 360;
    }
    /* Se pulou de 10 para 350 (recuou), o delta matemático é +340.
       Mas o delta real é -20. */
    else if(delta > 180)
    {
        delta -= 360;
    }

    /* Atualiza a última posição para a próxima chamada */
    last_angle = current_angle;

    return delta;
}

#else /* !ARGUS_HAS_QDEC ------------------------------------------------ */

int encoder_init(void)
{
    LOG_INF("Encoder ausente neste target (sem alias qdec0) - stub ativo.");
    return 0;
}

int32_t encoder_get_angle(void)
{
    return 0;
}

int32_t encoder_get_delta(void)
{
    return 0;
}

#endif /* ARGUS_HAS_QDEC */
```
